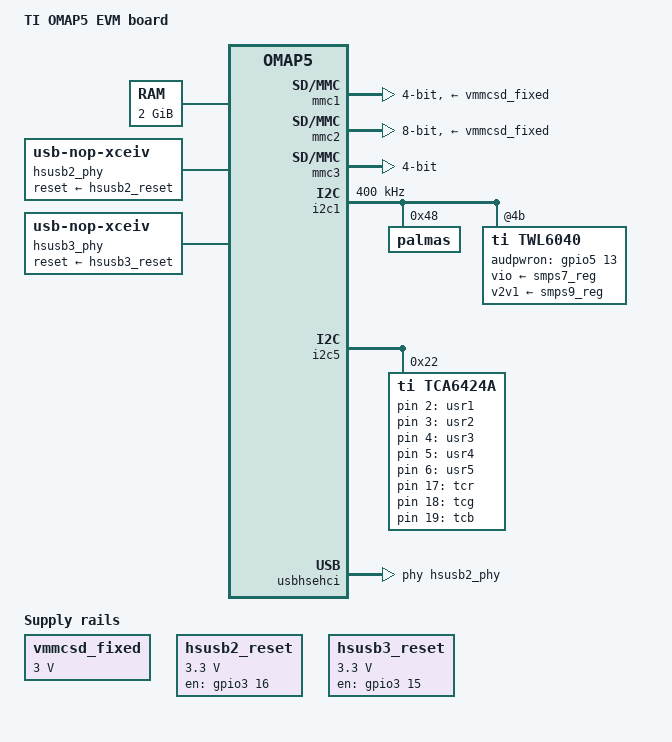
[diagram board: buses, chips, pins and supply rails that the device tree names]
/*
 * Copyright (C) 2012 Texas Instruments Incorporated - http://www.ti.com/
 *
 * This program is free software; you can redistribute it and/or modify
 * it under the terms of the GNU General Public License version 2 as
 * published by the Free Software Foundation.
 */
/dts-v1/;

/include/ "omap5.dtsi"

/ {
	model = "TI OMAP5 EVM board";
	compatible = "ti,omap5-panda", "ti,omap5";

	memory {
		device_type = "memory";
		reg = <0x80000000 0x80000000>; /* 2 GB */
	};

	vmmcsd_fixed: fixedregulator-mmcsd {
		compatible = "regulator-fixed";
		regulator-name = "vmmcsd_fixed";
		regulator-min-microvolt = <3000000>;
		regulator-max-microvolt = <3000000>;
	};

	leds {
		compatible = "gpio-leds";
		usr1 {
			label = "usr1";
			gpios = <&tca6424a 2 0>;	/* TCA6424A P02, GRN_LED0 */
			default-state = "off";
		};
		usr2 {
			label = "usr2";
			gpios = <&tca6424a 3 0>;	/* TCA6424A P03, GRN_LED1 */
			default-state = "off";
		};
		usr3 {
			label = "usr3";
			gpios = <&tca6424a 4 0>;	/* TCA6424A P04, GRN_LED2 */
			default-state = "off";
		};
		usr4 {
			label = "usr4";
			gpios = <&tca6424a 5 0>;	/* TCA6424A P05, GRN_LED3 */
			default-state = "off";
		};
		usr5 {
			label = "usr5";
			gpios = <&tca6424a 6 0>;	/* TCA6424A P06, GRN_LED4 */
			default-state = "off";
		};
		tcr {
			label = "tcr";
			gpios = <&tca6424a 17 0>;	/* TCA6424A P21, TC_LED_RED */
			linux,default-trigger = "heartbeat";
		};
		tcg {
			label = "tcg";
			gpios = <&tca6424a 18 0>;	/* TCA6424A P22, TC_LED_GRN */
			default-state = "off";
		};
		tcb {
			label = "tcb";
			gpios = <&tca6424a 19 0>;	/* TCA6424A P23, TC_LED_BLUE */
			default-state = "off";
		};
	};

	sound {
		compatible = "ti,abe-twl6040";
		ti,model = "PandaBoard5";

		ti,jack-detection = <1>;
		ti,mclk-freq = <19200000>;

		ti,mcpdm = <&mcpdm>;

		ti,twl6040 = <&twl6040>;

		/* Audio routing */
		ti,audio-routing =
			"Headset Stereophone", "HSOL",
			"Headset Stereophone", "HSOR",
			"Line Out", "AUXL",
			"Line Out", "AUXR",
			"HSMIC", "Headset Mic",
			"Headset Mic", "Headset Mic Bias",
			"AFML", "Line In",
			"AFMR", "Line In";
	};

	/* HS USB Port 2 RESET */
	hsusb2_reset: hsusb2_reset_reg {
		compatible = "regulator-fixed";
		regulator-name = "hsusb2_reset";
		regulator-min-microvolt = <3300000>;
		regulator-max-microvolt = <3300000>;
		gpio = <&gpio3 16 0>;	/* gpio3_80 HUB_NRESET */
		startup-delay-us = <70000>;
		enable-active-high;
	};

	/* HS USB Host PHY on PORT 2 */
	hsusb2_phy: hsusb2_phy {
		compatible = "usb-nop-xceiv";
		reset-supply = <&hsusb2_reset>;
	};

	/* HS USB Port 3 RESET */
	hsusb3_reset: hsusb3_reset_reg {
		compatible = "regulator-fixed";
		regulator-name = "hsusb3_reset";
		regulator-min-microvolt = <3300000>;
		regulator-max-microvolt = <3300000>;
		gpio = <&gpio3 15 0>;	/* gpio3_79 ETH_NRESET */
		startup-delay-us = <70000>;
		enable-active-high;
	};

	/* HS USB Host PHY on PORT 3 */
	hsusb3_phy: hsusb3_phy {
		compatible = "usb-nop-xceiv";
		reset-supply = <&hsusb3_reset>;
	};

	/* hsusb2_phy is clocked by FREF_CLK1 i.e. auxclk1 */
	clock_alias {
		clock-name = "auxclk1_ck";
		clock-alias = "main_clk";
		device = <&hsusb2_phy>;
		clock-frequency = <19200000>; /* 19.2 MHz */
	};
};

&mmc1 {
	vmmc-supply = <&vmmcsd_fixed>;
	vmmc-aux-supply = <&ldo9_reg>;
	bus-width = <4>;
};

&mmc2 {
	vmmc-supply = <&vmmcsd_fixed>;
	vmmc-aux-supply = <&ldo9_reg>;
	bus-width = <8>;
	ti,non-removable;
};

&mmc3 {
	bus-width = <4>;
	ti,non-removable;
};

&mmc4 {
	status = "disabled";
};

&mmc5 {
	status = "disabled";
};

&i2c1 {
	clock-frequency = <400000>;

	palmas: palmas@48 {
		reg = <0x48>;
		/* SPI = 0, IRQ# = 7, 4 = active high level-sensitive */
		interrupts = <0 7 4>; /* IRQ_SYS_1N cascaded to gic */
		interrupt-parent = <&gic>;
	};

	twl6040: twl@4b {
		compatible = "ti,twl6040";

		interrupts = <0 119 4>; /* IRQ_SYS_2N cascaded to gic */
		interrupt-parent = <&gic>;
		ti,audpwron-gpio = <&gpio5 13 0>;  /* gpio line 141 */

		vio-supply = <&smps7_reg>;
		v2v1-supply = <&smps9_reg>;
		enable-active-high;
	};
};

&omap5_pmx_core {
	pinctrl-names = "default";
	pinctrl-0 = <
			&twl6040_pins
			&mcpdm_pins
			&dmic_pins
			&mcbsp1_pins
			&mcbsp2_pins
			&i2c5_pins
			&usbhost_pins
	>;

	twl6040_pins: pinmux_twl6040_pins {
		pinctrl-single,pins = <
			0x17e 0x6	/* mcspi1_somi.gpio5_141 OUTPUT | MODE6 */
		>;
	};

	mcpdm_pins: pinmux_mcpdm_pins {
		pinctrl-single,pins = <
			0x142 0x108	/* abe_clks.abe_clks INPUT PULLDOWN | MODE0 */
			0x15c 0x108	/* abemcpdm_ul_data.abemcpdm_ul_data INPUT PULLDOWN | MODE0 */
			0x15e 0x108	/* abemcpdm_dl_data.abemcpdm_dl_data INPUT PULLDOWN | MODE0 */
			0x160 0x118	/* abemcpdm_frame.abemcpdm_frame INPUT PULLUP | MODE0 */
			0x162 0x108	/* abemcpdm_lb_clk.abemcpdm_lb_clk INPUT PULLDOWN | MODE0 */
		>;
	};

	dmic_pins: pinmux_dmic_pins {
		pinctrl-single,pins = <
			0x144 0x100	/* abedmic_din1.abedmic_din1 INPUT | MODE0 */
			0x146 0x100	/* abedmic_din2.abedmic_din2 INPUT | MODE0 */
			0x148 0x100	/* abedmic_din3.abedmic_din3 INPUT | MODE0 */
			0x14a 0		/* abedmic_clk1.abedmic_clk1 OUTPUT | MODE0 */
		>;
	};

	mcbsp1_pins: pinmux_mcbsp1_pins {
		pinctrl-single,pins = <
			0x14c 0x101	/* abedmic_clk2.abemcbsp1_fsx INPUT | MODE1 */
			0x14e 0x9	/* abedmic_clk3.abemcbsp1_dx OUTPUT PULLDOWN | MODE1 */
			0x150 0x101	/* abeslimbus1_clock.abemcbsp1_clkx INPUT | MODE0 */
			0x152 0x109	/* abeslimbus1_data.abemcbsp1_dr INPUT PULLDOWN | MODE1 */
		>;
	};

	mcbsp2_pins: pinmux_mcbsp2_pins {
		pinctrl-single,pins = <
			0x154 0x108	/* abemcbsp2_dr.abemcbsp2_dr INPUT PULLDOWN | MODE0 */
			0x156 0x8	/* abemcbsp2_dx.abemcbsp2_dx OUTPUT PULLDOWN | MODE0 */
			0x158 0x100	/* abemcbsp2_fsx.abemcbsp2_fsx INPUT | MODE0 */
			0x15a 0x100	/* abemcbsp2_clkx.abemcbsp2_clkx INPUT | MODE0 */
		>;
	};

	i2c5_pins: pinmux_i2c5_pins {
		pinctrl-single,pins = <
			0x186 0x100	/* i2c5_scl.i2c5_scl INPUT | MODE0 */
			0x188 0x100	/* i2c5_sda.i2c5_sda INPUT | MODE0 */
		>;
	};

	usbhost_pins: pinmux_usbhost_pins {
		pinctrl-single,pins = <
			0x84 0x100	/* usbb2_hsic_strobe INPUT | MODE 0 */
			0x86 0x100	/* usbb2_hsic_data INPUT | MODE 0 */

			0x19e 0x100	/* usbb3_hsic_strobe INPUT | MODE 0 */
			0x1a0 0x100	/* usbb3_hsic_data INPUT | MODE 0 */

			0x70 0x6	/* gpio3_80 OUTPUT | MODE 6 HUB_NRESET */
			0x6e 0x6	/* gpio3_79 OUTPUT | MODE 6 ETH_NRESET */
		>;
	};
};

&omap5_pmx_wkup {
	pinctrl-names = "default";
	pinctrl-0 = <
			&usbhost_wkup_pins
	>;

	usbhost_wkup_pins: pinmux_usbhost_wkup_pins {
		pinctrl-single,pins = <
			0x1A 0x0	/* fref_clk1_out OUTPUT | MODE 7 for USB hub clk */
		>;
	};
};

&i2c5 {
	tca6424a: tca6424a@22 {
		compatible = "ti,tca6424a";
		gpio-controller;
		#gpio-cells = <2>;
		reg = <0x22>;
	};
};

&usbhshost {
	port2-mode = "ehci-hsic";
	port3-mode = "ehci-hsic";
};

&usbhsehci {
	phys = <0 &hsusb2_phy &hsusb3_phy>;
};

/include/ "palmas.dtsi"
/include/ "twl6040.dtsi"
